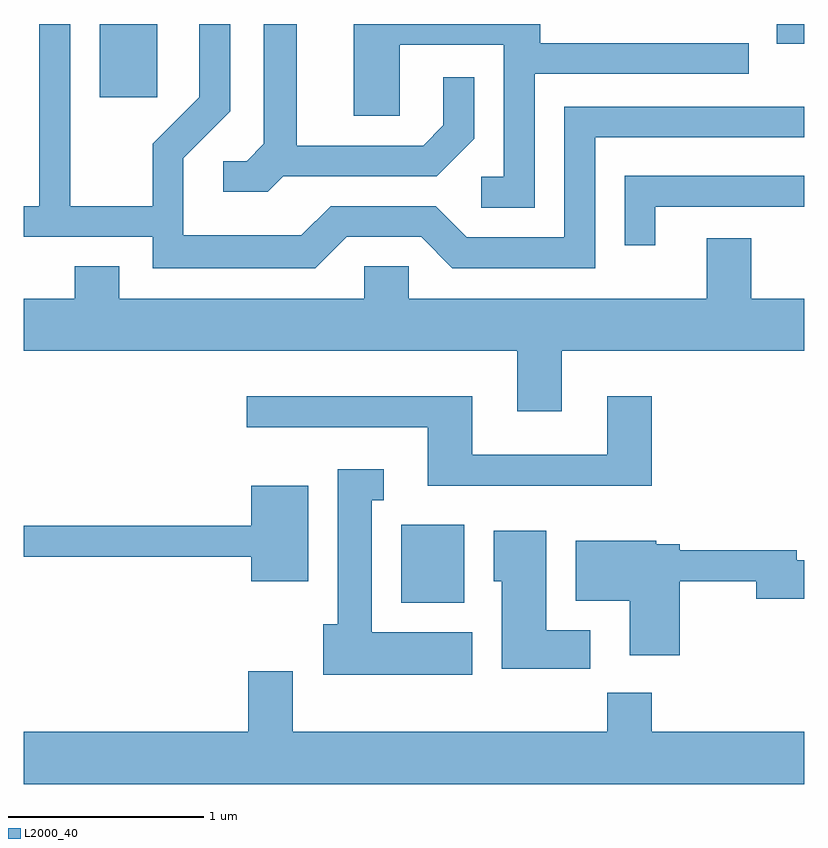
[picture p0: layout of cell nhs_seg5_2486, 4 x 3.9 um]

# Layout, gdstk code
import gdstk
lib = gdstk.Library(unit=1e-6, precision=1e-09)
def R(c, l, rs):  # rectangles x0, y0, x1, y1
    for r in rs: c.add(gdstk.rectangle(r[:2], r[2:], *l))
def P(c, l, *ps):  # polygons
    for p in ps: c.add(gdstk.Polygon(p, *l))
L2000_40 = (2000, 40)

nhs_seg5_2486 = lib.new_cell('nhs_seg5_2486')
R(nhs_seg5_2486, L2000_40, [(261.546,1411.106,261.869,1411.504), (260.001,1413.696,260.294,1414.072), (263.471,1413.971,263.611,1414.072)])
P(nhs_seg5_2486, L2000_40, [(260.942,1413.291),(261.727,1413.291),(261.919,1413.484),(261.919,1413.798),(261.761,1413.798),(261.761,1413.552),(261.659,1413.449),(261.009,1413.449),(261.009,1414.072),(260.841,1414.072),(260.841,1413.457),(260.754,1413.369),(260.633,1413.369),(260.633,1413.211),(260.861,1413.211)],
  [(261.267,1412.981),(261.649,1412.981),(261.808,1412.821),(262.539,1412.821),(262.539,1413.491),(263.611,1413.491),(263.611,1413.649),(262.381,1413.649),(262.381,1412.979),(261.882,1412.979),(261.722,1413.139),(261.183,1413.139),(261.034,1412.989),(260.429,1412.989),(260.429,1413.384),(260.669,1413.624),(260.669,1414.072),(260.511,1414.072),(260.511,1413.697),(260.271,1413.457),(260.271,1413.139),(259.849,1413.139),(259.849,1414.072),(259.691,1414.072),(259.691,1413.139),(259.611,1413.139),(259.611,1412.981),(260.271,1412.981),(260.271,1412.821),(261.106,1412.821)],
  [(262.229,1413.816),(263.328,1413.816),(263.328,1413.974),(262.259,1413.974),(262.259,1414.072),(261.301,1414.072),(261.301,1413.601),(261.539,1413.601),(261.539,1413.966),(262.071,1413.966),(262.071,1413.289),(261.957,1413.289),(261.957,1413.131),(262.229,1413.131)],
  [(262.849,1413.136),(263.611,1413.136),(263.611,1413.294),(262.691,1413.294),(262.691,1412.938),(262.849,1412.938)],
  [(262.369,1412.396),(263.611,1412.396),(263.611,1412.664),(263.339,1412.664),(263.339,1412.974),(263.111,1412.974),(263.111,1412.664),(261.584,1412.664),(261.584,1412.829),(261.356,1412.829),(261.356,1412.664),(260.099,1412.664),(260.099,1412.829),(259.871,1412.829),(259.871,1412.664),(259.611,1412.664),(259.611,1412.396),(262.141,1412.396),(262.141,1412.086),(262.369,1412.086)],
  [(262.829,1412.164),(262.601,1412.164),(262.601,1411.864),(261.909,1411.864),(261.909,1412.164),(260.753,1412.164),(260.753,1412.006),(261.681,1412.006),(261.681,1411.706),(262.829,1411.706)],
  [(261.909,1410.954),(261.394,1410.954),(261.394,1411.631),(261.457,1411.631),(261.457,1411.789),(261.221,1411.789),(261.221,1410.994),(261.146,1410.994),(261.146,1410.736),(261.909,1410.736)],
  [(261.069,1411.704),(260.776,1411.704),(260.776,1411.499),(259.611,1411.499),(259.611,1411.341),(260.776,1411.341),(260.776,1411.216),(261.069,1411.216)],
  [(262.514,1410.964),(262.289,1410.964),(262.289,1411.474),(262.021,1411.474),(262.021,1411.216),(262.061,1411.216),(262.061,1410.766),(262.514,1410.766)],
  [(262.974,1411.216),(263.366,1411.216),(263.366,1411.126),(263.611,1411.126),(263.611,1411.324),(263.574,1411.324),(263.574,1411.374),(262.974,1411.374),(262.974,1411.404),(262.854,1411.404),(262.854,1411.424),(262.441,1411.424),(262.441,1411.116),(262.716,1411.116),(262.716,1410.836),(262.974,1410.836)],
  [(263.611,1410.444),(262.829,1410.444),(262.829,1410.644),(262.601,1410.644),(262.601,1410.444),(260.989,1410.444),(260.989,1410.754),(260.761,1410.754),(260.761,1410.444),(259.611,1410.444),(259.611,1410.176),(263.611,1410.176)])

lib.write_gds('nhs_seg5_2486.gds')
